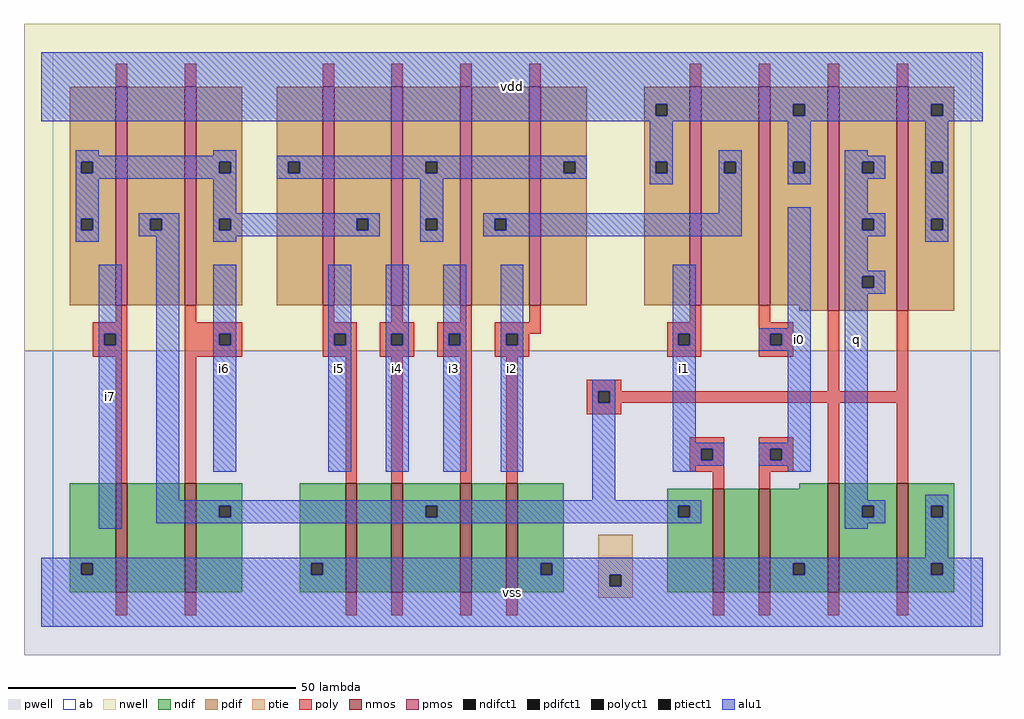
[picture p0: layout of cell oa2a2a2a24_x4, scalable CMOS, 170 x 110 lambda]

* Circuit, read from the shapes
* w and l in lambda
.subckt oa2a2a2a24_x4 i0 i1 i2 i3 i4 i5 i6 i7 q vdd vss
M1 n1 i7 vss vss nfet w=19 l=2
M2 n2 i6 n1 vss nfet w=19 l=2
M3 n3 i5 vss vss nfet w=19 l=2
M4 n2 i4 n3 vss nfet w=19 l=2
M5 n4 i3 n2 vss nfet w=19 l=2
M6 vss i2 n4 vss nfet w=19 l=2
M7 n5 i1 n2 vss nfet w=18 l=2
M8 vss i0 n5 vss nfet w=18 l=2
M9 q n2 vss vss nfet w=19 l=2 m=2
M10 n2 i7 n6 n7 pfet w=38 l=2
M11 n6 i6 n2 n7 pfet w=38 l=2
M12 n6 i5 n8 n7 pfet w=38 l=2
M13 n8 i4 n6 n7 pfet w=38 l=2
M14 n9 i3 n8 n7 pfet w=38 l=2
M15 n8 i2 n9 n7 pfet w=38 l=2
M16 n9 i1 vdd n7 pfet w=38 l=2
M17 vdd i0 n9 n7 pfet w=38 l=2
M18 q n2 vdd n7 pfet w=39 l=2 m=2
.ends

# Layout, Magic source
magic
tech scmos
<< ab >>
rect 0 0 160 100
<< nwell >>
rect -5 48 165 105
<< pwell >>
rect -5 -5 165 48
<< poly >>
rect 11 94 13 98
rect 23 94 25 98
rect 47 94 49 98
rect 59 94 61 98
rect 71 94 73 98
rect 83 94 85 98
rect 111 94 113 98
rect 123 94 125 98
rect 135 94 137 98
rect 147 94 149 98
rect 11 53 13 56
rect 7 51 13 53
rect 7 49 9 51
rect 11 49 13 51
rect 7 47 13 49
rect 11 25 13 47
rect 23 53 25 56
rect 47 53 49 56
rect 59 53 61 56
rect 71 53 73 56
rect 83 53 85 56
rect 111 53 113 56
rect 23 51 33 53
rect 23 49 29 51
rect 31 49 33 51
rect 23 47 33 49
rect 47 51 53 53
rect 47 49 49 51
rect 51 49 53 51
rect 47 47 53 49
rect 57 51 63 53
rect 57 49 59 51
rect 61 49 63 51
rect 57 47 63 49
rect 67 51 73 53
rect 67 49 69 51
rect 71 49 73 51
rect 67 47 73 49
rect 77 51 85 53
rect 107 51 113 53
rect 77 49 79 51
rect 81 49 83 51
rect 77 47 83 49
rect 107 49 109 51
rect 111 49 113 51
rect 107 47 113 49
rect 123 53 125 56
rect 123 51 129 53
rect 123 49 125 51
rect 127 49 129 51
rect 123 47 129 49
rect 23 25 25 47
rect 51 25 53 47
rect 59 25 61 47
rect 71 25 73 47
rect 79 25 81 47
rect 93 41 99 43
rect 135 41 137 55
rect 147 41 149 55
rect 93 39 95 41
rect 97 39 149 41
rect 93 37 99 39
rect 111 31 117 33
rect 111 29 113 31
rect 115 29 117 31
rect 111 27 117 29
rect 115 24 117 27
rect 123 31 129 33
rect 123 29 125 31
rect 127 29 129 31
rect 123 27 129 29
rect 123 24 125 27
rect 135 25 137 39
rect 147 25 149 39
rect 11 2 13 6
rect 23 2 25 6
rect 51 2 53 6
rect 59 2 61 6
rect 71 2 73 6
rect 79 2 81 6
rect 115 2 117 6
rect 123 2 125 6
rect 135 2 137 6
rect 147 2 149 6
<< ndif >>
rect 3 11 11 25
rect 3 9 5 11
rect 7 9 11 11
rect 3 6 11 9
rect 13 6 23 25
rect 25 21 33 25
rect 25 19 29 21
rect 31 19 33 21
rect 25 6 33 19
rect 43 11 51 25
rect 43 9 45 11
rect 47 9 51 11
rect 43 6 51 9
rect 53 6 59 25
rect 61 21 71 25
rect 61 19 65 21
rect 67 19 71 21
rect 61 6 71 19
rect 73 6 79 25
rect 81 11 89 25
rect 130 24 135 25
rect 107 21 115 24
rect 107 19 109 21
rect 111 19 115 21
rect 81 9 85 11
rect 87 9 89 11
rect 81 6 89 9
rect 107 6 115 19
rect 117 6 123 24
rect 125 11 135 24
rect 125 9 129 11
rect 131 9 135 11
rect 125 6 135 9
rect 137 21 147 25
rect 137 19 141 21
rect 143 19 147 21
rect 137 6 147 19
rect 149 21 157 25
rect 149 19 153 21
rect 155 19 157 21
rect 149 11 157 19
rect 149 9 153 11
rect 155 9 157 11
rect 149 6 157 9
<< pdif >>
rect 3 81 11 94
rect 3 79 5 81
rect 7 79 11 81
rect 3 71 11 79
rect 3 69 5 71
rect 7 69 11 71
rect 3 56 11 69
rect 13 71 23 94
rect 13 69 17 71
rect 19 69 23 71
rect 13 56 23 69
rect 25 81 33 94
rect 25 79 29 81
rect 31 79 33 81
rect 25 71 33 79
rect 25 69 29 71
rect 31 69 33 71
rect 25 56 33 69
rect 39 81 47 94
rect 39 79 41 81
rect 43 79 47 81
rect 39 56 47 79
rect 49 71 59 94
rect 49 69 53 71
rect 55 69 59 71
rect 49 56 59 69
rect 61 81 71 94
rect 61 79 65 81
rect 67 79 71 81
rect 61 71 71 79
rect 61 69 65 71
rect 67 69 71 71
rect 61 56 71 69
rect 73 71 83 94
rect 73 69 77 71
rect 79 69 83 71
rect 73 56 83 69
rect 85 81 93 94
rect 85 79 89 81
rect 91 79 93 81
rect 85 56 93 79
rect 103 91 111 94
rect 103 89 105 91
rect 107 89 111 91
rect 103 81 111 89
rect 103 79 105 81
rect 107 79 111 81
rect 103 56 111 79
rect 113 81 123 94
rect 113 79 117 81
rect 119 79 123 81
rect 113 56 123 79
rect 125 91 135 94
rect 125 89 129 91
rect 131 89 135 91
rect 125 81 135 89
rect 125 79 129 81
rect 131 79 135 81
rect 125 56 135 79
rect 130 55 135 56
rect 137 81 147 94
rect 137 79 141 81
rect 143 79 147 81
rect 137 71 147 79
rect 137 69 141 71
rect 143 69 147 71
rect 137 61 147 69
rect 137 59 141 61
rect 143 59 147 61
rect 137 55 147 59
rect 149 91 157 94
rect 149 89 153 91
rect 155 89 157 91
rect 149 81 157 89
rect 149 79 153 81
rect 155 79 157 81
rect 149 71 157 79
rect 149 69 153 71
rect 155 69 157 71
rect 149 55 157 69
<< alu1 >>
rect -2 91 162 100
rect -2 89 105 91
rect 107 89 129 91
rect 131 89 153 91
rect 155 89 162 91
rect -2 88 162 89
rect 4 82 8 83
rect 28 82 32 83
rect 4 81 32 82
rect 4 79 5 81
rect 7 79 29 81
rect 31 79 32 81
rect 4 78 32 79
rect 39 81 93 82
rect 39 79 41 81
rect 43 79 65 81
rect 67 79 89 81
rect 91 79 93 81
rect 39 78 93 79
rect 104 81 108 88
rect 104 79 105 81
rect 107 79 108 81
rect 4 71 8 78
rect 28 72 32 78
rect 4 69 5 71
rect 7 69 8 71
rect 4 67 8 69
rect 15 71 22 72
rect 15 69 17 71
rect 19 69 22 71
rect 15 68 22 69
rect 8 51 12 63
rect 8 49 9 51
rect 11 49 12 51
rect 8 17 12 49
rect 18 22 22 68
rect 28 71 57 72
rect 28 69 29 71
rect 31 69 53 71
rect 55 69 57 71
rect 28 68 57 69
rect 64 71 68 78
rect 104 77 108 79
rect 116 81 120 83
rect 116 79 117 81
rect 119 79 120 81
rect 116 72 120 79
rect 128 81 132 88
rect 128 79 129 81
rect 131 79 132 81
rect 128 77 132 79
rect 138 82 142 83
rect 138 81 145 82
rect 138 79 141 81
rect 143 79 145 81
rect 138 78 145 79
rect 152 81 156 88
rect 152 79 153 81
rect 155 79 156 81
rect 64 69 65 71
rect 67 69 68 71
rect 28 67 32 68
rect 64 67 68 69
rect 75 71 120 72
rect 75 69 77 71
rect 79 69 120 71
rect 75 68 120 69
rect 28 51 32 63
rect 28 49 29 51
rect 31 49 32 51
rect 28 27 32 49
rect 48 51 52 63
rect 48 49 49 51
rect 51 49 52 51
rect 48 27 52 49
rect 58 51 62 63
rect 58 49 59 51
rect 61 49 62 51
rect 58 27 62 49
rect 68 51 72 63
rect 68 49 69 51
rect 71 49 72 51
rect 68 27 72 49
rect 78 51 82 63
rect 78 49 79 51
rect 81 49 82 51
rect 78 27 82 49
rect 108 51 112 63
rect 128 52 132 73
rect 108 49 109 51
rect 111 49 112 51
rect 94 41 98 43
rect 94 39 95 41
rect 97 39 98 41
rect 94 22 98 39
rect 108 32 112 49
rect 123 51 132 52
rect 123 49 125 51
rect 127 49 132 51
rect 123 48 132 49
rect 128 32 132 48
rect 108 31 117 32
rect 108 29 113 31
rect 115 29 117 31
rect 108 28 117 29
rect 123 31 132 32
rect 123 29 125 31
rect 127 29 132 31
rect 123 28 132 29
rect 108 27 112 28
rect 128 27 132 28
rect 138 72 142 78
rect 138 71 145 72
rect 138 69 141 71
rect 143 69 145 71
rect 138 68 145 69
rect 152 71 156 79
rect 152 69 153 71
rect 155 69 156 71
rect 138 62 142 68
rect 152 67 156 69
rect 138 61 145 62
rect 138 59 141 61
rect 143 59 145 61
rect 138 58 145 59
rect 138 22 142 58
rect 18 21 113 22
rect 18 19 29 21
rect 31 19 65 21
rect 67 19 109 21
rect 111 19 113 21
rect 18 18 113 19
rect 138 21 145 22
rect 138 19 141 21
rect 143 19 145 21
rect 138 18 145 19
rect 152 21 156 23
rect 152 19 153 21
rect 155 19 156 21
rect 138 17 142 18
rect 152 12 156 19
rect -2 11 162 12
rect -2 9 5 11
rect 7 9 45 11
rect 47 9 85 11
rect 87 9 129 11
rect 131 9 153 11
rect 155 9 162 11
rect -2 7 97 9
rect 99 7 162 9
rect -2 0 162 7
<< ptie >>
rect 95 9 101 16
rect 95 7 97 9
rect 99 7 101 9
rect 95 5 101 7
<< nmos >>
rect 11 6 13 25
rect 23 6 25 25
rect 51 6 53 25
rect 59 6 61 25
rect 71 6 73 25
rect 79 6 81 25
rect 115 6 117 24
rect 123 6 125 24
rect 135 6 137 25
rect 147 6 149 25
<< pmos >>
rect 11 56 13 94
rect 23 56 25 94
rect 47 56 49 94
rect 59 56 61 94
rect 71 56 73 94
rect 83 56 85 94
rect 111 56 113 94
rect 123 56 125 94
rect 135 55 137 94
rect 147 55 149 94
<< polyct1 >>
rect 9 49 11 51
rect 29 49 31 51
rect 49 49 51 51
rect 59 49 61 51
rect 69 49 71 51
rect 79 49 81 51
rect 109 49 111 51
rect 125 49 127 51
rect 95 39 97 41
rect 113 29 115 31
rect 125 29 127 31
<< ndifct1 >>
rect 5 9 7 11
rect 29 19 31 21
rect 45 9 47 11
rect 65 19 67 21
rect 109 19 111 21
rect 85 9 87 11
rect 129 9 131 11
rect 141 19 143 21
rect 153 19 155 21
rect 153 9 155 11
<< ptiect1 >>
rect 97 7 99 9
<< pdifct1 >>
rect 5 79 7 81
rect 5 69 7 71
rect 17 69 19 71
rect 29 79 31 81
rect 29 69 31 71
rect 41 79 43 81
rect 53 69 55 71
rect 65 79 67 81
rect 65 69 67 71
rect 77 69 79 71
rect 89 79 91 81
rect 105 89 107 91
rect 105 79 107 81
rect 117 79 119 81
rect 129 89 131 91
rect 129 79 131 81
rect 141 79 143 81
rect 141 69 143 71
rect 141 59 143 61
rect 153 89 155 91
rect 153 79 155 81
rect 153 69 155 71
<< labels >>
rlabel alu1 30 45 30 45 6 i6
rlabel alu1 10 40 10 40 6 i7
rlabel alu1 70 45 70 45 6 i3
rlabel alu1 50 45 50 45 6 i5
rlabel alu1 60 45 60 45 6 i4
rlabel alu1 80 6 80 6 6 vss
rlabel alu1 80 45 80 45 6 i2
rlabel alu1 110 45 110 45 6 i1
rlabel alu1 80 94 80 94 6 vdd
rlabel alu1 130 50 130 50 6 i0
rlabel alu1 140 50 140 50 6 q
<< end >>
